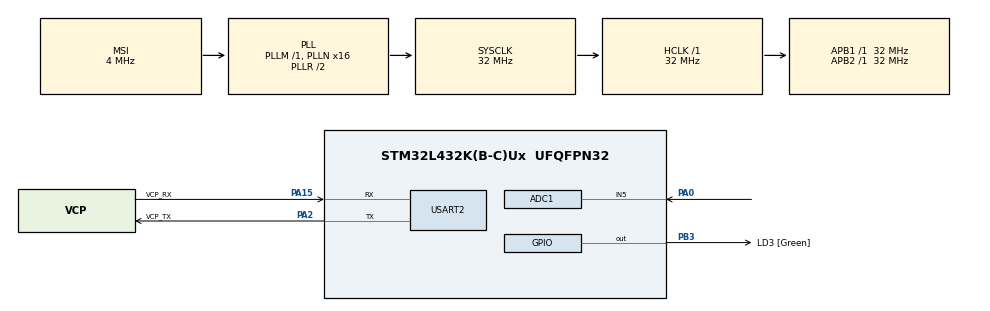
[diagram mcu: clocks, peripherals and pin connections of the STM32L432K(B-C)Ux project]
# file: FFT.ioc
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ADC1.Channel-0\#ChannelRegularConversion=ADC_CHANNEL_5
ADC1.ClockPrescaler=ADC_CLOCK_ASYNC_DIV64
ADC1.ContinuousConvMode=ENABLE
ADC1.NbrOfConversionFlag=1
ADC1.OffsetNumber-0\#ChannelRegularConversion=ADC_OFFSET_NONE
ADC1.Rank-0\#ChannelRegularConversion=1
ADC1.SamplingTime-0\#ChannelRegularConversion=ADC_SAMPLETIME_2CYCLES_5
ADC1.master=1
Mcu.Family=STM32L4
Mcu.Name=STM32L432K(B-C)Ux
Mcu.Package=UFQFPN32
NVIC.ADC1_IRQn=true\:0\:0\:false\:false\:true\:true\:true\:true
NVIC.PriorityGroup=NVIC_PRIORITYGROUP_4
PA0.Signal=ADCx_IN5
PA13\ (JTMS-SWDIO).GPIO_Label=SWDIO
PA13\ (JTMS-SWDIO).Signal=SYS_JTMS-SWDIO
PA14\ (JTCK-SWCLK).GPIO_Label=SWCLK
PA14\ (JTCK-SWCLK).Signal=SYS_JTCK-SWCLK
PA15\ (JTDI).GPIO_Label=VCP_RX
PA15\ (JTDI).Mode=Asynchronous
PA15\ (JTDI).Signal=USART2_RX
PA2.GPIO_Label=VCP_TX
PA2.Mode=Asynchronous
PA2.Signal=USART2_TX
PB3\ (JTDO-TRACESWO).GPIO_Label=LD3 [Green]
PB3\ (JTDO-TRACESWO).Signal=GPIO_Output
PC14-OSC32_IN\ (PC14).Signal=RCC_OSC32_IN
PC15-OSC32_OUT\ (PC15).Signal=RCC_OSC32_OUT
ProjectManager.HeapSize=0x200
ProjectManager.StackSize=0x400
ProjectManager.TargetToolchain=STM32CubeIDE
RCC.ADCFreq_Value=32000000
RCC.AHBFreq_Value=32000000
RCC.APB1Freq_Value=32000000
RCC.APB1TimFreq_Value=32000000
RCC.APB2Freq_Value=32000000
RCC.APB2TimFreq_Value=32000000
RCC.CortexFreq_Value=32000000
RCC.HCLKFreq_Value=32000000
RCC.HSE_VALUE=8000000
RCC.HSI16_VALUE=16000000
RCC.HSI48_VALUE=48000000
RCC.HSI_VALUE=16000000
RCC.LSE_VALUE=32768
RCC.MSI_VALUE=4000000
RCC.PLLMUL=RCC_PLLMUL_4
RCC.PLLN=16
RCC.PLLSAI1N=16
RCC.SYSCLKFreq_VALUE=32000000
RCC.SYSCLKSource=RCC_SYSCLKSOURCE_PLLCLK
RCC.USBFreq_Value=32000000
RCC.VCOOutputFreq_Value=64000000
SH.ADCx_IN5.0=ADC1_IN5,IN5-Single-Ended
STMicroelectronics.X-CUBE-ALGOBUILD.1.4.0.LibraryCcDSPOoLibraryJjDSPOoLibrary=true
USART2.VirtualMode-Asynchronous=VM_ASYNC
VP_STMicroelectronics.X-CUBE-ALGOBUILD_VS_DSPOoLibraryJjLibrary_1.4.0_1.4.0.Mode=DSPOoLibraryJjLibrary
board=NUCLEO-L432KC

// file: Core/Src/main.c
/* USER CODE BEGIN Header */
/**
  ******************************************************************************
  * @file           : main.c
  * @brief          : Main program body
  ******************************************************************************
  * @attention
  *
  * Copyright (c) 2025 STMicroelectronics.
  * All rights reserved.
  *
  ******************************************************************************
  */
/* USER CODE END Header */
#include "main.h"

/* USER CODE BEGIN Includes */
#include "arm_math.h"
#include <math.h>
#include <string.h>
/* USER CODE END Includes */

ADC_HandleTypeDef hadc1;

UART_HandleTypeDef huart2;

/* USER CODE BEGIN PV */
#define FFT_SIZE 2048
#define NUM_SAMPLES 2048

uint16_t adc_samples[NUM_SAMPLES];
float32_t adc_input_f32[FFT_SIZE];
float32_t fft_output[FFT_SIZE];
float32_t fft_magnitude[FFT_SIZE/2];

volatile uint16_t sample_index = 0;
volatile uint8_t fft_ready = 0;

uint32_t ADC_VAL = 0;
/* USER CODE END PV */

void SystemClock_Config(void);
static void MX_GPIO_Init(void);
static void MX_ADC1_Init(void);
static void MX_USART2_UART_Init(void);

/* USER CODE BEGIN 0 */
void HAL_ADC_ConvCpltCallback(ADC_HandleTypeDef *hadc)
{
    if (hadc->Instance == ADC1)
    {
        ADC_VAL = HAL_ADC_GetValue(&hadc1);

        if (sample_index < FFT_SIZE)
        {
            adc_samples[sample_index++] = ADC_VAL;

            if (sample_index >= FFT_SIZE)
            {
                fft_ready = 1; // Signal to perform FFT
            }
        }
    }
}

void send_uart(const char *msg)
{
    HAL_UART_Transmit(&huart2, (uint8_t*)msg, strlen(msg), HAL_MAX_DELAY);
}
/* USER CODE END 0 */

int main(void)
{

  /* MCU Configuration--------------------------------------------------------*/

  /* Reset of all peripherals, Initializes the Flash interface and the Systick. */
  HAL_Init();

  /* Configure the system clock */
  SystemClock_Config();

  /* Initialize all configured peripherals */
  MX_GPIO_Init();
  MX_ADC1_Init();
  MX_USART2_UART_Init();
  /* USER CODE BEGIN 2 */
  HAL_ADC_Start_IT(&hadc1);
  /* USER CODE END 2 */

  /* Infinite loop */
  /* USER CODE BEGIN WHILE */
  while (1)
  {
      if (fft_ready)
      {
          // 1. Copy ADC samples to float array
          for (uint16_t i = 0; i < FFT_SIZE; i++)
          {
              adc_input_f32[i] = (float32_t)adc_samples[i];
          }

          // 2. Perform FFT
          arm_rfft_fast_instance_f32 fft_instance;
          arm_rfft_fast_init_f32(&fft_instance, FFT_SIZE);
          arm_rfft_fast_f32(&fft_instance, adc_input_f32, fft_output, 0);

          // 3. Compute magnitude of complex FFT output (real and imaginary parts)
          arm_cmplx_mag_f32(fft_output, fft_magnitude, FFT_SIZE / 2);

          // 4. Remove DC component (set the first bin to zero)
          fft_magnitude[0] = 0;

          // 5. Find the maximum magnitude and corresponding bin
          float32_t max_magnitude = 0;
          uint16_t max_bin = 0;

          // Use arm_max_f32 to find the maximum magnitude and its corresponding bin
          arm_max_f32(fft_magnitude, FFT_SIZE / 2, &max_magnitude, &max_bin);

          // 6. Calculate the corresponding frequency
          float fs = 33333.0f;  // Sampling frequency (adjust if needed)
          float frequency = (max_bin * fs) / FFT_SIZE;

          // 7. Cast frequency and magnitude to integers for UART transmission
          int int_frequency = (int)frequency;  // Integer approximation of frequency
          int int_magnitude = (int)(max_magnitude);  // Integer approximation of magnitude

          // 8. Send the maximum frequency and magnitude over UART
//          if (int_magnitude > 5000 & int_frequency > 70){
//              char msg[100];
//              snprintf(msg, sizeof(msg), "Max Freq: %d Hz, Magnitude: %d\r\n", int_frequency, int_magnitude);
//              send_uart(msg);
//          }

          if (int_frequency > 146 & int_magnitude < 86000){
				char msg[100];
				snprintf(msg, sizeof(msg), "Coin, Max Freq: %d Hz, Magnitude: %d\r\n", int_frequency, int_magnitude);
				send_uart(msg);
          }
          else if(int_frequency < 146 & int_magnitude > 86000){
				char msg[100];
				snprintf(msg, sizeof(msg), "Eraser, Max Freq: %d Hz, Magnitude: %d\r\n", int_frequency, int_magnitude);
				send_uart(msg);
          }
          // 9. Reset after processing
          sample_index = 0;
          fft_ready = 0;
      }
  }

    /* USER CODE END WHILE */

  }

void SystemClock_Config(void)
{
  RCC_OscInitTypeDef RCC_OscInitStruct = {0};
  RCC_ClkInitTypeDef RCC_ClkInitStruct = {0};

  /** Configure the main internal regulator output voltage
  */
  if (HAL_PWREx_ControlVoltageScaling(PWR_REGULATOR_VOLTAGE_SCALE1) != HAL_OK)
  {
    Error_Handler();
  }

  /** Initializes the RCC Oscillators according to the specified parameters
  * in the RCC_OscInitTypeDef structure.
  */
  RCC_OscInitStruct.OscillatorType = RCC_OSCILLATORTYPE_MSI;
  RCC_OscInitStruct.MSIState = RCC_MSI_ON;
  RCC_OscInitStruct.MSICalibrationValue = 0;
  RCC_OscInitStruct.MSIClockRange = RCC_MSIRANGE_6;
  RCC_OscInitStruct.PLL.PLLState = RCC_PLL_ON;
  RCC_OscInitStruct.PLL.PLLSource = RCC_PLLSOURCE_MSI;
  RCC_OscInitStruct.PLL.PLLM = 1;
  RCC_OscInitStruct.PLL.PLLN = 16;
  RCC_OscInitStruct.PLL.PLLP = RCC_PLLP_DIV7;
  RCC_OscInitStruct.PLL.PLLQ = RCC_PLLQ_DIV2;
  RCC_OscInitStruct.PLL.PLLR = RCC_PLLR_DIV2;
  if (HAL_RCC_OscConfig(&RCC_OscInitStruct) != HAL_OK)
  {
    Error_Handler();
  }

  /** Initializes the CPU, AHB and APB buses clocks
  */
  RCC_ClkInitStruct.ClockType = RCC_CLOCKTYPE_HCLK|RCC_CLOCKTYPE_SYSCLK
                              |RCC_CLOCKTYPE_PCLK1|RCC_CLOCKTYPE_PCLK2;
  RCC_ClkInitStruct.SYSCLKSource = RCC_SYSCLKSOURCE_PLLCLK;
  RCC_ClkInitStruct.AHBCLKDivider = RCC_SYSCLK_DIV1;
  RCC_ClkInitStruct.APB1CLKDivider = RCC_HCLK_DIV1;
  RCC_ClkInitStruct.APB2CLKDivider = RCC_HCLK_DIV1;

  if (HAL_RCC_ClockConfig(&RCC_ClkInitStruct, FLASH_LATENCY_1) != HAL_OK)
  {
    Error_Handler();
  }
}

static void MX_ADC1_Init(void)
{

  ADC_ChannelConfTypeDef sConfig = {0};

  /** Common config
  */
  hadc1.Instance = ADC1;
  hadc1.Init.ClockPrescaler = ADC_CLOCK_ASYNC_DIV64;
  hadc1.Init.Resolution = ADC_RESOLUTION_12B;
  hadc1.Init.DataAlign = ADC_DATAALIGN_RIGHT;
  hadc1.Init.ScanConvMode = ADC_SCAN_DISABLE;
  hadc1.Init.EOCSelection = ADC_EOC_SINGLE_CONV;
  hadc1.Init.LowPowerAutoWait = DISABLE;
  hadc1.Init.ContinuousConvMode = ENABLE;
  hadc1.Init.NbrOfConversion = 1;
  hadc1.Init.DiscontinuousConvMode = DISABLE;
  hadc1.Init.ExternalTrigConv = ADC_SOFTWARE_START;
  hadc1.Init.ExternalTrigConvEdge = ADC_EXTERNALTRIGCONVEDGE_NONE;
  hadc1.Init.DMAContinuousRequests = DISABLE;
  hadc1.Init.Overrun = ADC_OVR_DATA_PRESERVED;
  hadc1.Init.OversamplingMode = DISABLE;
  if (HAL_ADC_Init(&hadc1) != HAL_OK)
  {
    Error_Handler();
  }

  /** Configure Regular Channel
  */
  sConfig.Channel = ADC_CHANNEL_5;
  sConfig.Rank = ADC_REGULAR_RANK_1;
  sConfig.SamplingTime = ADC_SAMPLETIME_2CYCLES_5;
  sConfig.SingleDiff = ADC_SINGLE_ENDED;
  sConfig.OffsetNumber = ADC_OFFSET_NONE;
  sConfig.Offset = 0;
  if (HAL_ADC_ConfigChannel(&hadc1, &sConfig) != HAL_OK)
  {
    Error_Handler();
  }

}

static void MX_USART2_UART_Init(void)
{

  huart2.Instance = USART2;
  huart2.Init.BaudRate = 115200;
  huart2.Init.WordLength = UART_WORDLENGTH_8B;
  huart2.Init.StopBits = UART_STOPBITS_1;
  huart2.Init.Parity = UART_PARITY_NONE;
  huart2.Init.Mode = UART_MODE_TX_RX;
  huart2.Init.HwFlowCtl = UART_HWCONTROL_NONE;
  huart2.Init.OverSampling = UART_OVERSAMPLING_16;
  huart2.Init.OneBitSampling = UART_ONE_BIT_SAMPLE_DISABLE;
  huart2.AdvancedInit.AdvFeatureInit = UART_ADVFEATURE_NO_INIT;
  if (HAL_UART_Init(&huart2) != HAL_OK)
  {
    Error_Handler();
  }

}

static void MX_GPIO_Init(void)
{
  GPIO_InitTypeDef GPIO_InitStruct = {0};

  /* GPIO Ports Clock Enable */
  __HAL_RCC_GPIOC_CLK_ENABLE();
  __HAL_RCC_GPIOA_CLK_ENABLE();
  __HAL_RCC_GPIOB_CLK_ENABLE();

  /*Configure GPIO pin Output Level */
  HAL_GPIO_WritePin(LD3_GPIO_Port, LD3_Pin, GPIO_PIN_RESET);

  /*Configure GPIO pin : LD3_Pin */
  GPIO_InitStruct.Pin = LD3_Pin;
  GPIO_InitStruct.Mode = GPIO_MODE_OUTPUT_PP;
  GPIO_InitStruct.Pull = GPIO_NOPULL;
  GPIO_InitStruct.Speed = GPIO_SPEED_FREQ_LOW;
  HAL_GPIO_Init(LD3_GPIO_Port, &GPIO_InitStruct);

}

void Error_Handler(void)
{
  __disable_irq();
  while (1)
  {
  }
}
